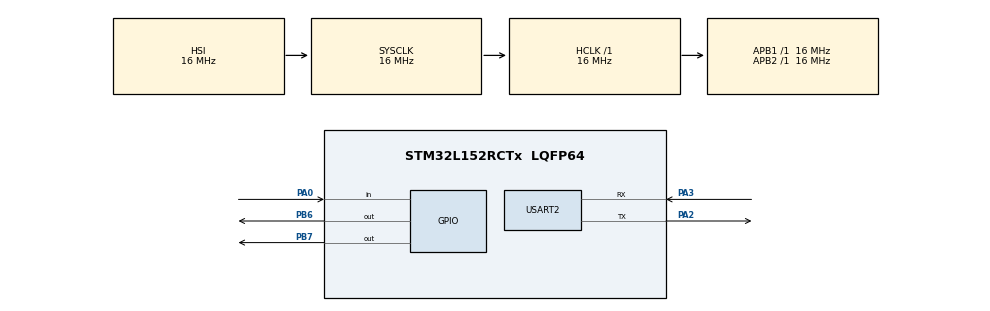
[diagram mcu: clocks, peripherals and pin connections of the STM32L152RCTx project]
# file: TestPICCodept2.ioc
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ADC.Channel-0\#ChannelRegularConversion=ADC_CHANNEL_TEMPSENSOR
ADC.NbrOfConversionFlag=1
ADC.Rank-0\#ChannelRegularConversion=1
ADC.SamplingTime-0\#ChannelRegularConversion=ADC_SAMPLETIME_4CYCLES
Mcu.Family=STM32L1
Mcu.Name=STM32L152RCTx
Mcu.Package=LQFP64
NVIC.PriorityGroup=NVIC_PRIORITYGROUP_4
NVIC.USART2_IRQn=true\:0\:0\:false\:false\:true\:true\:true\:true
PA0-WKUP1.Signal=GPIO_Input
PA13.Mode=Serial_Wire
PA13.Signal=SYS_JTMS-SWDIO
PA14.Mode=Serial_Wire
PA14.Signal=SYS_JTCK-SWCLK
PA2.Mode=Asynchronous
PA2.Signal=USART2_TX
PA3.Mode=Asynchronous
PA3.Signal=USART2_RX
PB6.Signal=GPIO_Output
PB7.Signal=GPIO_Output
ProjectManager.HeapSize=0x200
ProjectManager.StackSize=0x400
ProjectManager.TargetToolchain=STM32CubeIDE
RCC.48MHZClocksFreq_Value=24000000
RCC.AHBFreq_Value=16000000
RCC.APB1Freq_Value=16000000
RCC.APB1TimFreq_Value=16000000
RCC.APB2Freq_Value=16000000
RCC.APB2TimFreq_Value=16000000
RCC.HCLKFreq_Value=16000000
RCC.HSE_VALUE=8000000
RCC.HSI_VALUE=16000000
RCC.LSE_VALUE=32768
RCC.MSI_VALUE=2097000
RCC.SYSCLKFreq_VALUE=16000000
RCC.SYSCLKSource=RCC_SYSCLKSOURCE_HSI
RCC.VCOOutputFreq_Value=48000000
USART2.VirtualMode=VM_ASYNC
VP_ADC_TempSens_Input.Mode=IN-TempSens
board=custom

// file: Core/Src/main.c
/* USER CODE BEGIN Header */
/**
  ******************************************************************************
  * @file           : main.c
  * @brief          : Main program body
  ******************************************************************************
  * @attention
  *
  * Copyright (c) 2026 STMicroelectronics.
  * All rights reserved.
  *
  * This software is licensed under terms that can be found in the LICENSE file
  * in the root directory of this software component.
  * If no LICENSE file comes with this software, it is provided AS-IS.
  *
  ******************************************************************************
  */
/* USER CODE END Header */
#include "main.h"

ADC_HandleTypeDef hadc;

UART_HandleTypeDef huart2;

/* USER CODE BEGIN PV */
typedef enum {
	STARTUP,
	GENERAL_OP
} SystemPhase;
typedef enum {
	STANDBY,
	CONTINUOUS,
	ONE_OFF,
	DOWNLINK
} MissionMode;

SystemPhase currentPhase = STARTUP;
MissionMode currentMode = STANDBY;
MissionMode savedMode   = STANDBY;
/* USER CODE END PV */

void SystemClock_Config(void);
static void MX_GPIO_Init(void);
static void MX_ADC_Init(void);
static void MX_USART2_UART_Init(void);

int main(void)
{

  /* MCU Configuration--------------------------------------------------------*/

  /* Reset of all peripherals, Initializes the Flash interface and the Systick. */
  HAL_Init();

  /* Configure the system clock */
  SystemClock_Config();

  /* Initialize all configured peripherals */
  MX_GPIO_Init();
  MX_ADC_Init();
  MX_USART2_UART_Init();

  /* Infinite loop */
  /* USER CODE BEGIN WHILE */
  while (1)
  {
	  if (currentPhase == STARTUP)
	  {
	      run_startup_phase();
	  }
	  else
	  {
	      run_general_op_phase();

	  }
  }
  /* USER CODE END 3 */
}

void SystemClock_Config(void)
{
  RCC_OscInitTypeDef RCC_OscInitStruct = {0};
  RCC_ClkInitTypeDef RCC_ClkInitStruct = {0};

  /** Configure the main internal regulator output voltage
  */
  __HAL_PWR_VOLTAGESCALING_CONFIG(PWR_REGULATOR_VOLTAGE_SCALE1);

  /** Initializes the RCC Oscillators according to the specified parameters
  * in the RCC_OscInitTypeDef structure.
  */
  RCC_OscInitStruct.OscillatorType = RCC_OSCILLATORTYPE_HSI;
  RCC_OscInitStruct.HSIState = RCC_HSI_ON;
  RCC_OscInitStruct.HSICalibrationValue = RCC_HSICALIBRATION_DEFAULT;
  RCC_OscInitStruct.PLL.PLLState = RCC_PLL_NONE;
  if (HAL_RCC_OscConfig(&RCC_OscInitStruct) != HAL_OK)
  {
    Error_Handler();
  }

  /** Initializes the CPU, AHB and APB buses clocks
  */
  RCC_ClkInitStruct.ClockType = RCC_CLOCKTYPE_HCLK|RCC_CLOCKTYPE_SYSCLK
                              |RCC_CLOCKTYPE_PCLK1|RCC_CLOCKTYPE_PCLK2;
  RCC_ClkInitStruct.SYSCLKSource = RCC_SYSCLKSOURCE_HSI;
  RCC_ClkInitStruct.AHBCLKDivider = RCC_SYSCLK_DIV1;
  RCC_ClkInitStruct.APB1CLKDivider = RCC_HCLK_DIV1;
  RCC_ClkInitStruct.APB2CLKDivider = RCC_HCLK_DIV1;

  if (HAL_RCC_ClockConfig(&RCC_ClkInitStruct, FLASH_LATENCY_0) != HAL_OK)
  {
    Error_Handler();
  }
}

static void MX_ADC_Init(void)
{

  ADC_ChannelConfTypeDef sConfig = {0};

  /** Configure the global features of the ADC (Clock, Resolution, Data Alignment and number of conversion)
  */
  hadc.Instance = ADC1;
  hadc.Init.ClockPrescaler = ADC_CLOCK_ASYNC_DIV1;
  hadc.Init.Resolution = ADC_RESOLUTION_12B;
  hadc.Init.DataAlign = ADC_DATAALIGN_RIGHT;
  hadc.Init.ScanConvMode = ADC_SCAN_DISABLE;
  hadc.Init.EOCSelection = ADC_EOC_SEQ_CONV;
  hadc.Init.LowPowerAutoWait = ADC_AUTOWAIT_DISABLE;
  hadc.Init.LowPowerAutoPowerOff = ADC_AUTOPOWEROFF_DISABLE;
  hadc.Init.ChannelsBank = ADC_CHANNELS_BANK_A;
  hadc.Init.ContinuousConvMode = DISABLE;
  hadc.Init.NbrOfConversion = 1;
  hadc.Init.DiscontinuousConvMode = DISABLE;
  hadc.Init.ExternalTrigConv = ADC_SOFTWARE_START;
  hadc.Init.ExternalTrigConvEdge = ADC_EXTERNALTRIGCONVEDGE_NONE;
  hadc.Init.DMAContinuousRequests = DISABLE;
  if (HAL_ADC_Init(&hadc) != HAL_OK)
  {
    Error_Handler();
  }

  /** Configure for the selected ADC regular channel its corresponding rank in the sequencer and its sample time.
  */
  sConfig.Channel = ADC_CHANNEL_TEMPSENSOR;
  sConfig.Rank = ADC_REGULAR_RANK_1;
  sConfig.SamplingTime = ADC_SAMPLETIME_4CYCLES;
  if (HAL_ADC_ConfigChannel(&hadc, &sConfig) != HAL_OK)
  {
    Error_Handler();
  }

}

static void MX_USART2_UART_Init(void)
{

  huart2.Instance = USART2;
  huart2.Init.BaudRate = 115200;
  huart2.Init.WordLength = UART_WORDLENGTH_8B;
  huart2.Init.StopBits = UART_STOPBITS_1;
  huart2.Init.Parity = UART_PARITY_NONE;
  huart2.Init.Mode = UART_MODE_TX_RX;
  huart2.Init.HwFlowCtl = UART_HWCONTROL_NONE;
  huart2.Init.OverSampling = UART_OVERSAMPLING_16;
  if (HAL_UART_Init(&huart2) != HAL_OK)
  {
    Error_Handler();
  }

}

static void MX_GPIO_Init(void)
{
  GPIO_InitTypeDef GPIO_InitStruct = {0};

  /* GPIO Ports Clock Enable */
  __HAL_RCC_GPIOA_CLK_ENABLE();
  __HAL_RCC_GPIOB_CLK_ENABLE();

  /*Configure GPIO pin Output Level */
  HAL_GPIO_WritePin(GPIOB, GPIO_PIN_6|GPIO_PIN_7, GPIO_PIN_RESET);

  /*Configure GPIO pin : PA0 */
  GPIO_InitStruct.Pin = GPIO_PIN_0;
  GPIO_InitStruct.Mode = GPIO_MODE_INPUT;
  GPIO_InitStruct.Pull = GPIO_NOPULL;
  HAL_GPIO_Init(GPIOA, &GPIO_InitStruct);

  /*Configure GPIO pins : PB6 PB7 */
  GPIO_InitStruct.Pin = GPIO_PIN_6|GPIO_PIN_7;
  GPIO_InitStruct.Mode = GPIO_MODE_OUTPUT_PP;
  GPIO_InitStruct.Pull = GPIO_NOPULL;
  GPIO_InitStruct.Speed = GPIO_SPEED_FREQ_LOW;
  HAL_GPIO_Init(GPIOB, &GPIO_InitStruct);

}

/* USER CODE BEGIN 4 */

void run_startup_phase(void) {
    HAL_ADC_Start(&hadc);
    HAL_ADC_PollForConversion(&hadc, 10);
    uint32_t pwr = HAL_ADC_GetValue(&hadc);
    HAL_ADC_Stop(&hadc);

    if (pwr >= PWR_MIN && pwr <= PWR_MAX) {
        HAL_UART_Transmit(&huart2, (uint8_t*)"[PIC] POWER OK\r\n", 16, 100);
        currentPhase = GENERAL_OP;
    } else {
        HAL_UART_Transmit(&huart2, (uint8_t*)"[PIC] POWER ERROR\r\n", 19, 100);
    }
}

void run_general_op_phase(void) {
    uint8_t cmd;
    if (HAL_UART_Receive(&huart2, &cmd, 1, 1) == HAL_OK) {
        switch(cmd) {
            case '1': // One-off
                currentMode = ONE_OFF;
                HAL_Delay(500);
                currentMode = STANDBY;
                break;
            case '2': // Continuous
                currentMode = CONTINUOUS;
                break;
            case '3': // Downlink
                savedMode = currentMode;
                currentMode = DOWNLINK;
                // Add downlink logic here later
                currentMode = savedMode; // Resume previous mode
                break;
        }
    }
}
/* USER CODE END 4 */

void Error_Handler(void)
{
  __disable_irq();
  while (1)
  {
  }
}
